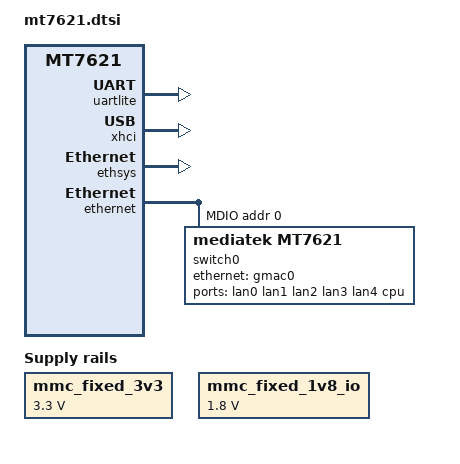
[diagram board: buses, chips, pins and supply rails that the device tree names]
#include <dt-bindings/interrupt-controller/mips-gic.h>
#include <dt-bindings/gpio/gpio.h>

/ {
	#address-cells = <1>;
	#size-cells = <1>;
	compatible = "mediatek,mt7621-soc";

	cpus {
		cpu@0 {
			compatible = "mips,mips1004Kc";
		};

		cpu@1 {
			compatible = "mips,mips1004Kc";
		};
	};

	cpuintc: cpuintc@0 {
		#address-cells = <0>;
		#interrupt-cells = <1>;
		interrupt-controller;
		compatible = "mti,cpu-interrupt-controller";
	};

	aliases {
		serial0 = &uartlite;
	};

	cpuclock: cpuclock@0 {
		#clock-cells = <0>;
		compatible = "fixed-clock";

		/* FIXME: there should be way to detect this */
		clock-frequency = <880000000>;
	};

	sysclock: sysclock@0 {
		#clock-cells = <0>;
		compatible = "fixed-clock";

		/* This is normally 1/4 of cpuclock */
		clock-frequency = <220000000>;
	};

	mmc_clock: mmc_clock@0 {
		#clock-cells = <0>;
		compatible = "fixed-clock";
		clock-frequency = <48000000>;
	};

	mmc_fixed_3v3: fixedregulator@0 {
		compatible = "regulator-fixed";
		regulator-name = "mmc_power";
		regulator-min-microvolt = <3300000>;
		regulator-max-microvolt = <3300000>;
		enable-active-high;
		regulator-always-on;
	  };

	  mmc_fixed_1v8_io: fixedregulator@1 {
		compatible = "regulator-fixed";
		regulator-name = "mmc_io";
		regulator-min-microvolt = <1800000>;
		regulator-max-microvolt = <1800000>;
		enable-active-high;
		regulator-always-on;
	};

	palmbus: palmbus@1E000000 {
		compatible = "palmbus";
		reg = <0x1E000000 0x100000>;
		ranges = <0x0 0x1E000000 0x0FFFFF>;

		#address-cells = <1>;
		#size-cells = <1>;

		sysc: sysc@0 {
			compatible = "mtk,mt7621-sysc";
			reg = <0x0 0x100>;
		};

		wdt: wdt@100 {
			compatible = "mtk,mt7621-wdt";
			reg = <0x100 0x100>;
		};

		gpio: gpio@600 {
			#gpio-cells = <2>;
			#interrupt-cells = <2>;
			compatible = "mediatek,mt7621-gpio";
			gpio-controller;
			interrupt-controller;
			reg = <0x600 0x100>;
			interrupt-parent = <&gic>;
			interrupts = <GIC_SHARED 12 IRQ_TYPE_LEVEL_HIGH>;
		};

		i2c: i2c@900 {
			compatible = "mediatek,mt7621-i2c";
			reg = <0x900 0x100>;

			clocks = <&sysclock>;

			resets = <&rstctrl 16>;
			reset-names = "i2c";

			#address-cells = <1>;
			#size-cells = <0>;

			status = "disabled";

			pinctrl-names = "default";
			pinctrl-0 = <&i2c_pins>;
		};

		i2s: i2s@a00 {
			compatible = "mediatek,mt7621-i2s";
			reg = <0xa00 0x100>;

			clocks = <&sysclock>;

			resets = <&rstctrl 17>;
			reset-names = "i2s";

			interrupt-parent = <&gic>;
			interrupts = <GIC_SHARED 16 IRQ_TYPE_LEVEL_HIGH>;

			txdma-req = <2>;
			rxdma-req = <3>;

			dmas = <&gdma 4>,
				<&gdma 6>;
			dma-names = "tx", "rx";

			status = "disabled";
		};

		memc: memc@5000 {
			compatible = "mtk,mt7621-memc";
			reg = <0x5000 0x1000>;
		};

		cpc: cpc@1fbf0000 {
			     compatible = "mtk,mt7621-cpc";
			     reg = <0x1fbf0000 0x8000>;
		};

		mc: mc@1fbf8000 {
			    compatible = "mtk,mt7621-mc";
			    reg = <0x1fbf8000 0x8000>;
		};

		uartlite: uartlite@c00 {
			compatible = "ns16550a";
			reg = <0xc00 0x100>;

			clocks = <&sysclock>;
			clock-frequency = <50000000>;

			interrupt-parent = <&gic>;
			interrupts = <GIC_SHARED 26 IRQ_TYPE_LEVEL_HIGH>;

			reg-shift = <2>;
			reg-io-width = <4>;
			no-loopback-test;
		};

		spi0: spi@b00 {
			status = "disabled";

			compatible = "ralink,mt7621-spi";
			reg = <0xb00 0x100>;

			clocks = <&sysclock>;

			resets = <&rstctrl 18>;
			reset-names = "spi";

			#address-cells = <1>;
			#size-cells = <0>;

			pinctrl-names = "default";
			pinctrl-0 = <&spi_pins>;
		};

		gdma: gdma@2800 {
			compatible = "ralink,rt3883-gdma";
			reg = <0x2800 0x800>;

			resets = <&rstctrl 14>;
			reset-names = "dma";

			interrupt-parent = <&gic>;
			interrupts = <0 13 4>;

			#dma-cells = <1>;
			#dma-channels = <16>;
			#dma-requests = <16>;

			status = "disabled";
		};

		hsdma: hsdma@7000 {
			compatible = "mediatek,mt7621-hsdma";
			reg = <0x7000 0x1000>;

			resets = <&rstctrl 5>;
			reset-names = "hsdma";

			interrupt-parent = <&gic>;
			interrupts = <0 11 4>;

			#dma-cells = <1>;
			#dma-channels = <1>;
			#dma-requests = <1>;

			status = "disabled";
		};
	};

	pinctrl: pinctrl {
		compatible = "ralink,rt2880-pinmux";
		pinctrl-names = "default";
		pinctrl-0 = <&state_default>;

		state_default: pinctrl0 {
		};

		i2c_pins: i2c0 {
			i2c0 {
				groups = "i2c";
				function = "i2c";
			};
		};

		spi_pins: spi0 {
			spi0 {
				groups = "spi";
				function = "spi";
			};
		};

		uart1_pins: uart1 {
			uart1 {
				groups = "uart1";
				function = "uart1";
			};
		};

		uart2_pins: uart2 {
			uart2 {
				groups = "uart2";
				function = "uart2";
			};
		};

		uart3_pins: uart3 {
			uart3 {
				groups = "uart3";
				function = "uart3";
			};
		};

		rgmii1_pins: rgmii1 {
			rgmii1 {
				groups = "rgmii1";
				function = "rgmii1";
			};
		};

		rgmii2_pins: rgmii2 {
			rgmii2 {
				groups = "rgmii2";
				function = "rgmii2";
			};
		};

		mdio_pins: mdio0 {
			mdio0 {
				groups = "mdio";
				function = "mdio";
			};
		};

		pcie_pins: pcie0 {
			pcie0 {
				groups = "pcie";
				function = "gpio";
			};
		};

		nand_pins: nand0 {
			spi-nand {
				groups = "spi";
				function = "nand1";
			};

			sdhci-nand {
				groups = "sdhci";
				function = "nand2";
			};
		};

		sdhci_pins: sdhci0 {
			sdhci0 {
				groups = "sdhci";
				function = "sdhci";
			};
		};
	};

	rstctrl: rstctrl {
		compatible = "ralink,rt2880-reset";
		#reset-cells = <1>;
	};

	clkctrl: clkctrl {
		compatible = "ralink,rt2880-clock";
		#clock-cells = <1>;
	};

	sdhci: sdhci@1E130000 {
		status = "disabled";

		compatible = "mediatek,mt7620-mmc";
		reg = <0x1E130000 0x4000>;

		bus-width = <4>;
		max-frequency = <48000000>;
		cap-sd-highspeed;
		cap-mmc-highspeed;
		vmmc-supply = <&mmc_fixed_3v3>;
		vqmmc-supply = <&mmc_fixed_1v8_io>;
		disable-wp;

		pinctrl-names = "default", "state_uhs";
		pinctrl-0 = <&sdhci_pins>;
		pinctrl-1 = <&sdhci_pins>;

		clocks = <&mmc_clock &mmc_clock>;
		clock-names = "source", "hclk";

		interrupt-parent = <&gic>;
		interrupts = <GIC_SHARED 20 IRQ_TYPE_LEVEL_HIGH>;
	};

	xhci: xhci@1E1C0000 {
		status = "okay";

		compatible = "mediatek,mt8173-xhci";
		reg = <0x1e1c0000 0x1000
		       0x1e1d0700 0x0100>;
		reg-names = "mac", "ippc";

		clocks = <&sysclock>;
		clock-names = "sys_ck";

		interrupt-parent = <&gic>;
		interrupts = <GIC_SHARED 22 IRQ_TYPE_LEVEL_HIGH>;
	};

	gic: interrupt-controller@1fbc0000 {
		compatible = "mti,gic";
		reg = <0x1fbc0000 0x2000>;

		interrupt-controller;
		#interrupt-cells = <3>;

		mti,reserved-cpu-vectors = <7>;

		timer {
			compatible = "mti,gic-timer";
			interrupts = <GIC_LOCAL 1 IRQ_TYPE_NONE>;
			clocks = <&cpuclock>;
		};
	};

	nand: nand@1e003000 {
		status = "disabled";

		compatible = "mtk,mt7621-nand";
		bank-width = <2>;
		reg = <0x1e003000 0x800
			0x1e003800 0x800>;
		#address-cells = <1>;
		#size-cells = <1>;
	};

	ethsys: syscon@1e000000 {
		compatible = "mediatek,mt7621-ethsys",
			     "syscon";
		reg = <0x1e000000 0x1000>;
		#clock-cells = <1>;
	};

	ethernet: ethernet@1e100000 {
		compatible = "mediatek,mt7621-eth";
		reg = <0x1e100000 0x10000>;

		clocks = <&sysclock>;
		clock-names = "ethif";

		#address-cells = <1>;
		#size-cells = <0>;

		resets = <&rstctrl 6 &rstctrl 23>;
		reset-names = "fe", "eth";

		interrupt-parent = <&gic>;
		interrupts = <GIC_SHARED 3 IRQ_TYPE_LEVEL_HIGH>;

		mediatek,ethsys = <&ethsys>;


		gmac0: mac@0 {
			compatible = "mediatek,eth-mac";
			reg = <0>;
			phy-mode = "rgmii";
			fixed-link {
				speed = <1000>;
				full-duplex;
				pause;
			};
		};
		gmac1: mac@1 {
			compatible = "mediatek,eth-mac";
			reg = <1>;
			status = "off";
			phy-mode = "rgmii-rxid";
			phy-handle = <&phy_external>;
		};
		mdio-bus {
			#address-cells = <1>;
			#size-cells = <0>;

			phy_external: ethernet-phy@5 {
				status = "off";
				reg = <5>;
				phy-mode = "rgmii-rxid";

				pinctrl-names = "default";
				pinctrl-0 = <&rgmii2_pins>;
			};

			switch0: switch0@0 {
				compatible = "mediatek,mt7621";
				#address-cells = <1>;
				#size-cells = <0>;
				reg = <0>;
				mediatek,mcm;
				resets = <&rstctrl 2>;
				reset-names = "mcm";

				ports {
					#address-cells = <1>;
					#size-cells = <0>;
					reg = <0>;
					port@0 {
						status = "off";
						reg = <0>;
						label = "lan0";
					};
					port@1 {
						status = "off";
						reg = <1>;
						label = "lan1";
					};
					port@2 {
						status = "off";
						reg = <2>;
						label = "lan2";
					};
					port@3 {
						status = "off";
						reg = <3>;
						label = "lan3";
					};
					port@4 {
						status = "off";
						reg = <4>;
						label = "lan4";
					};
					port@6 {
						reg = <6>;
						label = "cpu";
						ethernet = <&gmac0>;
						phy-mode = "trgmii";
						fixed-link {
							speed = <1000>;
							full-duplex;
						};
					};
				};
			};
		};
	};

	gsw: gsw@1e110000 {
		compatible = "mediatek,mt7621-gsw";
		reg = <0x1e110000 0x8000>;
		interrupt-parent = <&gic>;
		interrupts = <GIC_SHARED 23 IRQ_TYPE_LEVEL_HIGH>;
	};

	pcie: pcie@1e140000 {
		compatible = "mediatek,mt7621-pci";
		reg = <0x1e140000 0x100     /* host-pci bridge registers */
			0x1e142000 0x100    /* pcie port 0 RC control registers */
			0x1e143000 0x100    /* pcie port 1 RC control registers */
			0x1e144000 0x100>;  /* pcie port 2 RC control registers */
		#address-cells = <3>;
		#size-cells = <2>;

		pinctrl-names = "default";
		pinctrl-0 = <&pcie_pins>;

		device_type = "pci";

		bus-range = <0 255>;
		ranges = <
			0x02000000 0 0x00000000 0x60000000 0 0x10000000 /* pci memory */
			0x01000000 0 0x00000000 0x1e160000 0 0x00010000 /* io space */
		>;

		#interrupt-cells = <1>;
		interrupt-map-mask = <0xF0000 0 0 1>;
		interrupt-map = <0x10000 0 0 1 &gic GIC_SHARED 4 IRQ_TYPE_LEVEL_HIGH>,
				<0x20000 0 0 1 &gic GIC_SHARED 24 IRQ_TYPE_LEVEL_HIGH>,
				<0x30000 0 0 1 &gic GIC_SHARED 25 IRQ_TYPE_LEVEL_HIGH>;

		status = "disabled";

		resets = <&rstctrl 24 &rstctrl 25 &rstctrl 26>;
		reset-names = "pcie0", "pcie1", "pcie2";
		clocks = <&clkctrl 24 &clkctrl 25 &clkctrl 26>;
		clock-names = "pcie0", "pcie1", "pcie2";
		phys = <&pcie0_phy 1>, <&pcie2_phy 0>;
		phy-names = "pcie-phy0", "pcie-phy2";

		reset-gpios = <&gpio 19 GPIO_ACTIVE_LOW>;

		pcie@0,0 {
			reg = <0x0000 0 0 0 0>;
			#address-cells = <3>;
			#size-cells = <2>;
			ranges;
			bus-range = <0x00 0xff>;
		};

		pcie@1,0 {
			reg = <0x0800 0 0 0 0>;
			#address-cells = <3>;
			#size-cells = <2>;
			ranges;
			bus-range = <0x00 0xff>;
		};

		pcie@2,0 {
			reg = <0x1000 0 0 0 0>;
			#address-cells = <3>;
			#size-cells = <2>;
			ranges;
			bus-range = <0x00 0xff>;
		};
	};

	pcie0_phy: pcie-phy@1e149000 {
		compatible = "mediatek,mt7621-pci-phy";
		reg = <0x1e149000 0x0700>;
		#phy-cells = <1>;
	};

	pcie2_phy: pcie-phy@1e14a000 {
		compatible = "mediatek,mt7621-pci-phy";
		reg = <0x1e14a000 0x0700>;
		#phy-cells = <1>;
	};
};
